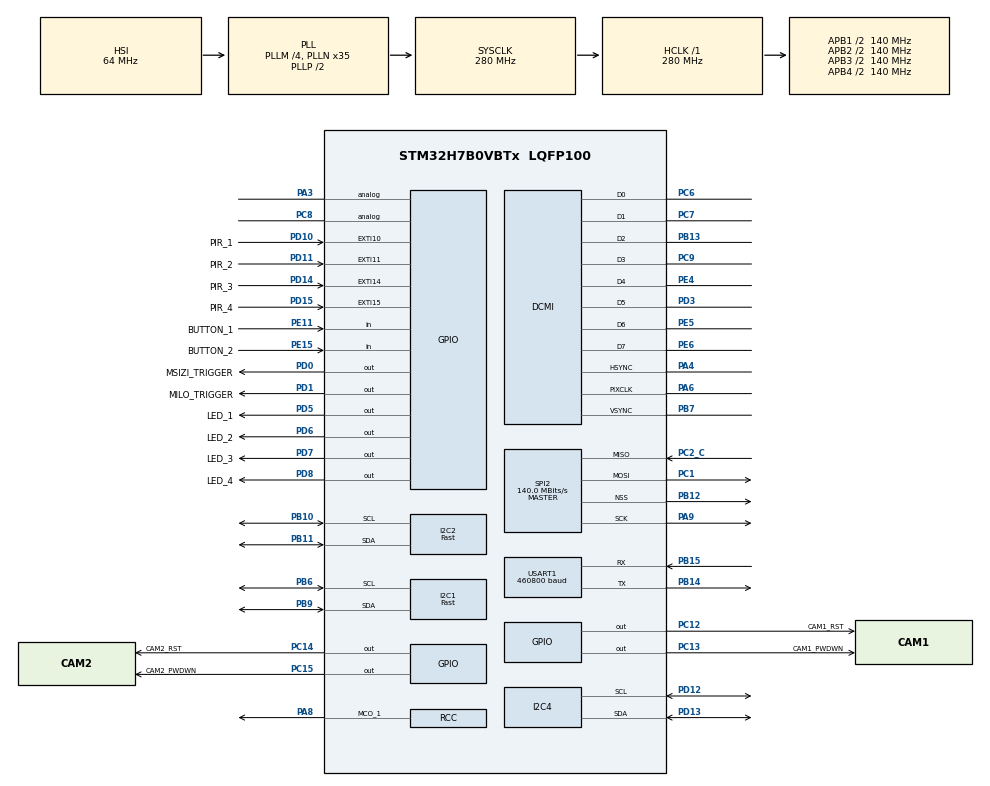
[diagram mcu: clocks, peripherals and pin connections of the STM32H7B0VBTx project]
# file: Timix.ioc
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CORTEX_M7.default_mode_Activation=1
DCMI.HSPolarity=DCMI_HSPOLARITY_LOW
DCMI.JPEGMode=DCMI_JPEG_DISABLE
DCMI.PCKPolarity=DCMI_PCKPOLARITY_RISING
DCMI.VSPolarity=DCMI_VSPOLARITY_HIGH
Dma.DCMI.0.Direction=DMA_PERIPH_TO_MEMORY
Dma.DCMI.0.EventEnable=DISABLE
Dma.DCMI.0.FIFOMode=DMA_FIFOMODE_DISABLE
Dma.DCMI.0.Instance=DMA1_Stream0
Dma.DCMI.0.MemDataAlignment=DMA_MDATAALIGN_WORD
Dma.DCMI.0.MemInc=DMA_MINC_ENABLE
Dma.DCMI.0.Mode=DMA_CIRCULAR
Dma.DCMI.0.PeriphDataAlignment=DMA_PDATAALIGN_WORD
Dma.DCMI.0.PeriphInc=DMA_PINC_DISABLE
Dma.DCMI.0.Polarity=HAL_DMAMUX_REQ_GEN_RISING
Dma.DCMI.0.Priority=DMA_PRIORITY_LOW
Dma.DCMI.0.RequestNumber=1
Dma.DCMI.0.SignalID=NONE
Dma.DCMI.0.SyncEnable=DISABLE
Dma.DCMI.0.SyncPolarity=HAL_DMAMUX_SYNC_NO_EVENT
Dma.DCMI.0.SyncRequestNumber=1
Dma.DCMI.0.SyncSignalID=NONE
Dma.Request0=DCMI
I2C1.I2C_Speed_Mode=I2C_Fast
I2C1.Timing=0x00D04BFF
I2C2.I2C_Speed_Mode=I2C_Fast
I2C2.Timing=0x00D04BFF
I2C4.Timing=0x20B0CCFF
Mcu.Family=STM32H7
Mcu.Name=STM32H7B0VBTx
Mcu.Package=LQFP100
NVIC.DCMI_PSSI_IRQn=true\:0\:0\:false\:false\:true\:true\:true\:true
NVIC.DMA1_Stream0_IRQn=true\:0\:0\:false\:false\:true\:false\:true\:true
NVIC.EXTI15_10_IRQn=true\:0\:0\:false\:false\:true\:true\:true\:true
NVIC.PriorityGroup=NVIC_PRIORITYGROUP_4
NVIC.USART1_IRQn=true\:0\:0\:false\:false\:true\:true\:true\:true
PA13.Mode=Serial_Wire
PA13.Signal=DEBUG_JTMS-SWDIO
PA14.Mode=Serial_Wire
PA14.Signal=DEBUG_JTCK-SWCLK
PA3.Signal=GPIO_Analog
PA4.GPIO_Speed=GPIO_SPEED_FREQ_VERY_HIGH
PA4.Mode=Slave_8_bits_External_Synchro
PA4.Signal=DCMI_HSYNC
PA6.GPIO_Speed=GPIO_SPEED_FREQ_VERY_HIGH
PA6.Mode=Slave_8_bits_External_Synchro
PA6.Signal=DCMI_PIXCLK
PA8.GPIO_Speed=GPIO_SPEED_FREQ_VERY_HIGH
PA8.Mode=Clock-out-1
PA8.Signal=RCC_MCO_1
PA9.Mode=Full_Duplex_Master
PA9.Signal=SPI2_SCK
PB10.Mode=I2C
PB10.Signal=I2C2_SCL
PB11.Mode=I2C
PB11.Signal=I2C2_SDA
PB12.Mode=NSS_Signal_Hard_Output
PB12.Signal=SPI2_NSS
PB13.GPIO_Speed=GPIO_SPEED_FREQ_VERY_HIGH
PB13.Mode=Slave_8_bits_External_Synchro
PB13.Signal=DCMI_D2
PB14.Mode=Asynchronous
PB14.Signal=USART1_TX
PB15.Mode=Asynchronous
PB15.Signal=USART1_RX
PB6.Mode=I2C
PB6.Signal=I2C1_SCL
PB7.GPIO_Speed=GPIO_SPEED_FREQ_VERY_HIGH
PB7.Mode=Slave_8_bits_External_Synchro
PB7.Signal=DCMI_VSYNC
PB9.Mode=I2C
PB9.Signal=I2C1_SDA
PC1.Mode=Full_Duplex_Master
PC1.Signal=SPI2_MOSI
PC12.GPIO_Label=CAM1_RST
PC12.Signal=GPIO_Output
PC13.GPIO_Label=CAM1_PWDWN
PC13.Signal=GPIO_Output
PC14-OSC32_IN.GPIO_Label=CAM2_RST
PC14-OSC32_IN.Signal=GPIO_Output
PC15-OSC32_OUT.GPIO_Label=CAM2_PWDWN
PC15-OSC32_OUT.Signal=GPIO_Output
PC2_C.Mode=Full_Duplex_Master
PC2_C.Signal=SPI2_MISO
PC6.GPIO_Speed=GPIO_SPEED_FREQ_VERY_HIGH
PC6.Mode=Slave_8_bits_External_Synchro
PC6.Signal=DCMI_D0
PC7.GPIO_Speed=GPIO_SPEED_FREQ_VERY_HIGH
PC7.Mode=Slave_8_bits_External_Synchro
PC7.Signal=DCMI_D1
PC8.Signal=GPIO_Analog
PC9.GPIO_Speed=GPIO_SPEED_FREQ_VERY_HIGH
PC9.Mode=Slave_8_bits_External_Synchro
PC9.Signal=DCMI_D3
PD0.GPIO_Label=MSIZI_TRIGGER
PD0.Signal=GPIO_Output
PD1.GPIO_Label=MILO_TRIGGER
PD1.Signal=GPIO_Output
PD10.GPIO_Label=PIR_1
PD10.Signal=GPXTI10
PD11.GPIO_Label=PIR_2
PD11.Signal=GPXTI11
PD12.Mode=I2C
PD12.Signal=I2C4_SCL
PD13.Mode=I2C
PD13.Signal=I2C4_SDA
PD14.GPIO_Label=PIR_3
PD14.Signal=GPXTI14
PD15.GPIO_Label=PIR_4
PD15.Signal=GPXTI15
PD3.GPIO_Speed=GPIO_SPEED_FREQ_VERY_HIGH
PD3.Mode=Slave_8_bits_External_Synchro
PD3.Signal=DCMI_D5
PD5.GPIO_Label=LED_1
PD5.Signal=GPIO_Output
PD6.GPIO_Label=LED_2
PD6.Signal=GPIO_Output
PD7.GPIO_Label=LED_3
PD7.Signal=GPIO_Output
PD8.GPIO_Label=LED_4
PD8.Signal=GPIO_Output
PE11.GPIO_Label=BUTTON_1
PE11.GPIO_PuPd=GPIO_PULLDOWN
PE11.Signal=GPIO_Input
PE15.GPIO_Label=BUTTON_2
PE15.GPIO_PuPd=GPIO_PULLDOWN
PE15.Signal=GPIO_Input
PE4.GPIO_Speed=GPIO_SPEED_FREQ_VERY_HIGH
PE4.Mode=Slave_8_bits_External_Synchro
PE4.Signal=DCMI_D4
PE5.GPIO_Speed=GPIO_SPEED_FREQ_VERY_HIGH
PE5.Mode=Slave_8_bits_External_Synchro
PE5.Signal=DCMI_D6
PE6.GPIO_Speed=GPIO_SPEED_FREQ_VERY_HIGH
PE6.Mode=Slave_8_bits_External_Synchro
PE6.Signal=DCMI_D7
PH0-OSC_IN.Mode=HSE-External-Oscillator
PH0-OSC_IN.Signal=RCC_OSC_IN
PH1-OSC_OUT.Mode=HSE-External-Oscillator
PH1-OSC_OUT.Signal=RCC_OSC_OUT
ProjectManager.HeapSize=0x200
ProjectManager.StackSize=0x400
ProjectManager.TargetToolchain=Makefile
RCC.ADCFreq_Value=129000000
RCC.APB1Freq_Value=140000000
RCC.APB2Freq_Value=140000000
RCC.APB3Freq_Value=140000000
RCC.APB4Freq_Value=140000000
RCC.CDPPRE=RCC_APB3_DIV2
RCC.CDPPRE1=RCC_APB1_DIV2
RCC.CDPPRE2=RCC_APB2_DIV2
RCC.CortexFreq_Value=280000000
RCC.DIVM1=4
RCC.DIVN1=35
RCC.DIVR1=4
RCC.HCLKFreq_Value=280000000
RCC.HSE_VALUE=8000000
RCC.PLL2FRACN=0
RCC.PLL3FRACN=0
RCC.PLL3_VCI_Range-AdvancedSettings=RCC_PLL3VCIRANGE_3
RCC.PLLFRACN=0
RCC.RCC_MCO1Source=RCC_MCO1SOURCE_HSI48
RCC.SRDPPRE=RCC_APB4_DIV2
RCC.SYSCLKFreq_VALUE=280000000
RCC.SYSCLKSource=RCC_SYSCLKSOURCE_PLLCLK
RCC.SupplySource=PWR_LDO_SUPPLY
RCC.USBFreq_Value=280000000
SPI2.CalculateBaudRate=140.0 MBits/s
SPI2.Direction=SPI_DIRECTION_2LINES
SPI2.Mode=SPI_MODE_MASTER
SPI2.VirtualNSS=VM_NSSHARD
SPI2.VirtualType=VM_MASTER
USART1.BaudRate=460800
USART1.VirtualMode-Asynchronous=VM_ASYNC
VP_MEMORYMAP_VS_MEMORYMAP.Mode=CurAppReg
board=custom

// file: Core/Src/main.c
/* USER CODE BEGIN Header */
/**
  ******************************************************************************
  * @file           : main.c
  * @brief          : Main program body
  ******************************************************************************
  * @attention
  *
  * Copyright (c) 2025 STMicroelectronics.
  * All rights reserved.
  *
  * This software is licensed under terms that can be found in the LICENSE file
  * in the root directory of this software component.
  * If no LICENSE file comes with this software, it is provided AS-IS.
  *
  ******************************************************************************
  */
/* USER CODE END Header */
#include "main.h"

/* USER CODE BEGIN Includes */
#include "ov7670.h"
#include "stdio.h"
#include <string.h>
#include <stdlib.h>
/* USER CODE END Includes */

/* USER CODE BEGIN PD */
#define CAM1_I2C hi2c1
#define CAM2_I2C hi2c2
/* USER CODE END PD */

DCMI_HandleTypeDef hdcmi;
DMA_HandleTypeDef hdma_dcmi;

I2C_HandleTypeDef hi2c1;
I2C_HandleTypeDef hi2c2;
I2C_HandleTypeDef hi2c4;

SPI_HandleTypeDef hspi2;

UART_HandleTypeDef huart1;

/* USER CODE BEGIN PV */
uint8_t CAM1_Image[OV7670_QVGA_WIDTH * OV7670_QVGA_HEIGHT * 2];
uint8_t CAM1_Permanent_Image[OV7670_QVGA_WIDTH * OV7670_QVGA_HEIGHT * 2];
uint8_t CAM2_Image[OV7670_QVGA_WIDTH * OV7670_QVGA_HEIGHT * 2];
uint8_t CAM2_Permanent_Image[OV7670_QVGA_WIDTH * OV7670_QVGA_HEIGHT * 2];

volatile uint32_t CAM1_Permanent_Image_Address = (uint32_t) CAM1_Permanent_Image;
volatile uint32_t CAM2_Permanent_Image_Address = (uint32_t) CAM2_Permanent_Image;
volatile uint32_t CAM1_Image_Address           = (uint32_t) CAM1_Image;
volatile uint32_t CAM2_Image_Address           = (uint32_t) CAM2_Image;

uint8_t pictureTaken = 0;

/* USER CODE END PV */

void SystemClock_Config(void);
static void MPU_Config(void);
static void MX_GPIO_Init(void);
static void MX_DMA_Init(void);
static void MX_DCMI_Init(void);
static void MX_I2C1_Init(void);
static void MX_I2C2_Init(void);
static void MX_I2C4_Init(void);
static void MX_SPI2_Init(void);
static void MX_USART1_UART_Init(void);

/* USER CODE BEGIN 0 */
int _write(int file, char *ptr, int len)
{
    HAL_UART_Transmit(&huart1, (uint8_t *)ptr, len, HAL_MAX_DELAY);
    return len;
}

int fputc(int ch, FILE *f)
{
    HAL_UART_Transmit(&huart1, (uint8_t *)&ch, 1, HAL_MAX_DELAY);
    return ch;
}

HAL_StatusTypeDef status;

uint8_t received_data[5];
uint16_t num_elements = (OV7670_QVGA_WIDTH * OV7670_QVGA_HEIGHT) * 32/8;

void takeCamera1Picture(){
  printf("Taking picture on Camera 1 now\n");
  HAL_GPIO_WritePin(CAM2_PWDWN_GPIO_Port , CAM2_PWDWN_Pin , GPIO_PIN_SET);
  HAL_GPIO_WritePin(CAM1_PWDWN_GPIO_Port , CAM1_PWDWN_Pin , GPIO_PIN_RESET);
  ov7670_init(&hdcmi , &hdma_dcmi , &(CAM1_I2C)  , 1);
  ov7670_config(OV7670_MODE_QVGA_RGB565);
  ov7670_startCap(OV7670_CAP_SINGLE_FRAME , CAM1_Image_Address);
}

void takeCamera2Picture(){
  printf("Taking picture on Camera 2 now\n");
  HAL_GPIO_WritePin(CAM2_PWDWN_GPIO_Port , CAM2_PWDWN_Pin , GPIO_PIN_RESET);
  HAL_GPIO_WritePin(CAM1_PWDWN_GPIO_Port , CAM1_PWDWN_Pin , GPIO_PIN_SET);
  ov7670_init(&hdcmi , &hdma_dcmi , &(CAM2_I2C)  , 2);
  ov7670_config(OV7670_MODE_QVGA_RGB565);
  ov7670_startCap(OV7670_CAP_SINGLE_FRAME , CAM2_Image_Address);
}

void PIR1_Triggered(){
  printf("Motion detected - Sensor 1\n");
}

void PIR2_Triggered(){
  printf("Motion detected - Sensor 2\n");
}

void PIR3_Triggered(){
  printf("Motion detected - Sensor 3\n");
  takeCamera1Picture();
}

void PIR4_Triggered(){
  printf("Motion detected - Sensor 4\n");
  takeCamera2Picture();
}

void Button1_Pressed(){

}

void Button2_Pressed(){

}

void HAL_GPIO_EXTI_Callback(uint16_t GPIO_Pin){
  if (GPIO_Pin == PIR_1_Pin) {PIR1_Triggered();}
  if (GPIO_Pin == PIR_2_Pin) {PIR2_Triggered();}
  if (GPIO_Pin == PIR_3_Pin) {PIR3_Triggered();}
  if (GPIO_Pin == PIR_4_Pin) {PIR4_Triggered();}
}

// Extract RGB components from 2-byte RGB565 pixel (little-endian)
void ExtractRGB565(uint8_t low, uint8_t high, uint8_t* r, uint8_t* g, uint8_t* b) {
    uint16_t pixel = (high << 8) | low;

    *r = (pixel >> 11) & 0x1F;  // 5-bit Red
    *g = (pixel >> 5)  & 0x3F;  // 6-bit Green
    *b = pixel & 0x1F;          // 5-bit Blue
}

// Compare two RGB565 images stored in uint8_t arrays with a per-channel tolerance
float CompareRGB565Similarity_uint8(uint8_t* img1, uint8_t* img2, size_t pixelCount, uint8_t tolerance) {
    if (pixelCount == 0) return 0.0f;

    size_t matchCount = 0;

    for (size_t i = 0; i < pixelCount; i++) {
        uint8_t r1, g1, b1;
        uint8_t r2, g2, b2;

        ExtractRGB565(img1[2 * i], img1[2 * i + 1], &r1, &g1, &b1);
        ExtractRGB565(img2[2 * i], img2[2 * i + 1], &r2, &g2, &b2);

        if (abs(r1 - r2) <= tolerance &&
            abs(g1 - g2) <= tolerance &&
            abs(b1 - b2) <= tolerance) {
            matchCount++;
        }
    }

    return (100.0f * matchCount) / pixelCount;
}

void sendPicture(){
      //   // Wait until "START" is received
      // HAL_UART_Receive(&huart1, received_data, 5, 100);

      // if (strncmp((char *)received_data, "START", 5) == 0)
      // {

      //     // Transmit image data
      //     HAL_UART_Transmit(&huart1, (uint8_t *)(CAM_Image + (UINT16_MAX * 0)), UINT16_MAX, HAL_MAX_DELAY);
      //     HAL_UART_Transmit(&huart1, (uint8_t *)(CAM_Image + (UINT16_MAX * 1)), UINT16_MAX, HAL_MAX_DELAY);
      //     HAL_UART_Transmit(&huart1, (uint8_t *)(CAM_Image + (UINT16_MAX * 2)), 22530, HAL_MAX_DELAY);

      //     // Transmit end marker
      //     HAL_UART_Transmit(&huart1, (uint8_t *) "END", 3, HAL_MAX_DELAY);
      //     received_data[0] = 0;
      //     received_data[1] = 0;
      //     received_data[2] = 0;
      //     received_data[3] = 0;
      //     received_data[4] = 0;
      //     // ov7670_startCap(OV7670_CAP_SINGLE_FRAME , CAM1_Image_Address);
      //   }
}

float similarity1 = 100;
float similarity2 = 100;

/* USER CODE END 0 */

int main(void)
{

  /* MPU Configuration--------------------------------------------------------*/
  MPU_Config();

  /* MCU Configuration--------------------------------------------------------*/

  /* Reset of all peripherals, Initializes the Flash interface and the Systick. */
  HAL_Init();

  /* Configure the system clock */
  SystemClock_Config();

  /* Initialize all configured peripherals */
  MX_GPIO_Init();
  MX_DMA_Init();
  MX_DCMI_Init();
  MX_I2C1_Init();
  MX_I2C2_Init();
  MX_I2C4_Init();
  MX_SPI2_Init();
  MX_USART1_UART_Init();
  /* USER CODE BEGIN 2 */

  takeCamera1Picture();
  while (pictureTaken == 0){}
  memcpy(CAM1_Permanent_Image, CAM1_Image, sizeof(CAM1_Image));
  if (CAM1_Permanent_Image_Address != 0){
      printf("Permanent image captured for Camera 1!\n");
  }
  pictureTaken = 0;
  HAL_Delay(500);

  // takeCamera2Picture();
  // while (pictureTaken == 0){}
  // memcpy(CAM2_Permanent_Image, CAM2_Image, sizeof(CAM2_Image));
  // printf("Permanent image captured for Camera 2!\n");
  // printf(CAM2_Permanent_Image_Address);
  // pictureTaken = 0;

  /* USER CODE END 2 */

  /* Infinite loop */
  /* USER CODE BEGIN WHILE */

  while (1)
  {

    HAL_GPIO_WritePin(CAM1_RST_GPIO_Port , CAM1_RST_Pin , 1);
    HAL_GPIO_WritePin(CAM1_PWDWN_GPIO_Port , CAM1_PWDWN_Pin , 1);
    HAL_PWR_EnterSLEEPMode(PWR_LOWPOWERREGULATOR_ON , PWR_STOPENTRY_WFI);
    if (HAL_GPIO_ReadPin(PIR_3_GPIO_Port , PIR_3_Pin)){
      takeCamera1Picture();
      while (pictureTaken == 0)
      {
        /* code */
      }

    HAL_GPIO_WritePin(LED_1_GPIO_Port , LED_1_Pin , 1);
    HAL_GPIO_WritePin(LED_2_GPIO_Port , LED_2_Pin , 1);

      if(pictureTaken == 1){
        similarity1 = CompareRGB565Similarity_uint8(CAM1_Permanent_Image , CAM1_Image , sizeof(CAM1_Image)/2 , 7 );
        // similarity2 = CompareRGB565Similarity_uint8(&CAM2_Permanent_Image , &CAM2_Image , sizeof(CAM2_Image)/2 , 50);
        pictureTaken = 0;
        int similarity_int = (int)(similarity1 * 10000);
        printf("Picture captured, similarity = %d.%04d%%\n", similarity_int / 10000, similarity_int % 10000);
        if (similarity1 <= 75.0f){
          HAL_GPIO_WritePin(MILO_TRIGGER_GPIO_Port , MILO_TRIGGER_Pin , 0);
          HAL_GPIO_WritePin(MSIZI_TRIGGER_GPIO_Port , MSIZI_TRIGGER_Pin , 1);
        }else{
          HAL_GPIO_WritePin(MILO_TRIGGER_GPIO_Port , MILO_TRIGGER_Pin , 1);
          HAL_GPIO_WritePin(MSIZI_TRIGGER_GPIO_Port , MSIZI_TRIGGER_Pin , 0);
        }
      }
    }
  }

    /* USER CODE END WHILE */

}

void SystemClock_Config(void)
{
  RCC_OscInitTypeDef RCC_OscInitStruct = {0};
  RCC_ClkInitTypeDef RCC_ClkInitStruct = {0};

  /*AXI clock gating */
  RCC->CKGAENR = 0xFFFFFFFF;

  /** Supply configuration update enable
  */
  HAL_PWREx_ConfigSupply(PWR_LDO_SUPPLY);

  /** Configure the main internal regulator output voltage
  */
  __HAL_PWR_VOLTAGESCALING_CONFIG(PWR_REGULATOR_VOLTAGE_SCALE0);

  while(!__HAL_PWR_GET_FLAG(PWR_FLAG_VOSRDY)) {}

  /** Initializes the RCC Oscillators according to the specified parameters
  * in the RCC_OscInitTypeDef structure.
  */
  RCC_OscInitStruct.OscillatorType = RCC_OSCILLATORTYPE_HSI48|RCC_OSCILLATORTYPE_HSI;
  RCC_OscInitStruct.HSIState = RCC_HSI_DIV1;
  RCC_OscInitStruct.HSICalibrationValue = 64;
  RCC_OscInitStruct.HSI48State = RCC_HSI48_ON;
  RCC_OscInitStruct.PLL.PLLState = RCC_PLL_ON;
  RCC_OscInitStruct.PLL.PLLSource = RCC_PLLSOURCE_HSI;
  RCC_OscInitStruct.PLL.PLLM = 4;
  RCC_OscInitStruct.PLL.PLLN = 35;
  RCC_OscInitStruct.PLL.PLLP = 2;
  RCC_OscInitStruct.PLL.PLLQ = 2;
  RCC_OscInitStruct.PLL.PLLR = 4;
  RCC_OscInitStruct.PLL.PLLRGE = RCC_PLL1VCIRANGE_3;
  RCC_OscInitStruct.PLL.PLLVCOSEL = RCC_PLL1VCOWIDE;
  RCC_OscInitStruct.PLL.PLLFRACN = 0;
  if (HAL_RCC_OscConfig(&RCC_OscInitStruct) != HAL_OK)
  {
    Error_Handler();
  }

  /** Initializes the CPU, AHB and APB buses clocks
  */
  RCC_ClkInitStruct.ClockType = RCC_CLOCKTYPE_HCLK|RCC_CLOCKTYPE_SYSCLK
                              |RCC_CLOCKTYPE_PCLK1|RCC_CLOCKTYPE_PCLK2
                              |RCC_CLOCKTYPE_D3PCLK1|RCC_CLOCKTYPE_D1PCLK1;
  RCC_ClkInitStruct.SYSCLKSource = RCC_SYSCLKSOURCE_PLLCLK;
  RCC_ClkInitStruct.SYSCLKDivider = RCC_SYSCLK_DIV1;
  RCC_ClkInitStruct.AHBCLKDivider = RCC_HCLK_DIV1;
  RCC_ClkInitStruct.APB3CLKDivider = RCC_APB3_DIV2;
  RCC_ClkInitStruct.APB1CLKDivider = RCC_APB1_DIV2;
  RCC_ClkInitStruct.APB2CLKDivider = RCC_APB2_DIV2;
  RCC_ClkInitStruct.APB4CLKDivider = RCC_APB4_DIV2;

  if (HAL_RCC_ClockConfig(&RCC_ClkInitStruct, FLASH_LATENCY_6) != HAL_OK)
  {
    Error_Handler();
  }
  HAL_RCC_MCOConfig(RCC_MCO1, RCC_MCO1SOURCE_HSI48, RCC_MCODIV_1);
}

static void MX_DCMI_Init(void)
{

  hdcmi.Instance = DCMI;
  hdcmi.Init.SynchroMode = DCMI_SYNCHRO_HARDWARE;
  hdcmi.Init.PCKPolarity = DCMI_PCKPOLARITY_RISING;
  hdcmi.Init.VSPolarity = DCMI_VSPOLARITY_HIGH;
  hdcmi.Init.HSPolarity = DCMI_HSPOLARITY_LOW;
  hdcmi.Init.CaptureRate = DCMI_CR_ALL_FRAME;
  hdcmi.Init.ExtendedDataMode = DCMI_EXTEND_DATA_8B;
  hdcmi.Init.JPEGMode = DCMI_JPEG_DISABLE;
  hdcmi.Init.ByteSelectMode = DCMI_BSM_ALL;
  hdcmi.Init.ByteSelectStart = DCMI_OEBS_ODD;
  hdcmi.Init.LineSelectMode = DCMI_LSM_ALL;
  hdcmi.Init.LineSelectStart = DCMI_OELS_ODD;
  if (HAL_DCMI_Init(&hdcmi) != HAL_OK)
  {
    Error_Handler();
  }

}

static void MX_I2C1_Init(void)
{

  hi2c1.Instance = I2C1;
  hi2c1.Init.Timing = 0x00D04BFF;
  hi2c1.Init.OwnAddress1 = 0;
  hi2c1.Init.AddressingMode = I2C_ADDRESSINGMODE_7BIT;
  hi2c1.Init.DualAddressMode = I2C_DUALADDRESS_DISABLE;
  hi2c1.Init.OwnAddress2 = 0;
  hi2c1.Init.OwnAddress2Masks = I2C_OA2_NOMASK;
  hi2c1.Init.GeneralCallMode = I2C_GENERALCALL_DISABLE;
  hi2c1.Init.NoStretchMode = I2C_NOSTRETCH_DISABLE;
  if (HAL_I2C_Init(&hi2c1) != HAL_OK)
  {
    Error_Handler();
  }

  /** Configure Analogue filter
  */
  if (HAL_I2CEx_ConfigAnalogFilter(&hi2c1, I2C_ANALOGFILTER_ENABLE) != HAL_OK)
  {
    Error_Handler();
  }

  /** Configure Digital filter
  */
  if (HAL_I2CEx_ConfigDigitalFilter(&hi2c1, 0) != HAL_OK)
  {
    Error_Handler();
  }

}

static void MX_I2C2_Init(void)
{

  hi2c2.Instance = I2C2;
  hi2c2.Init.Timing = 0x00D04BFF;
  hi2c2.Init.OwnAddress1 = 0;
  hi2c2.Init.AddressingMode = I2C_ADDRESSINGMODE_7BIT;
  hi2c2.Init.DualAddressMode = I2C_DUALADDRESS_DISABLE;
  hi2c2.Init.OwnAddress2 = 0;
  hi2c2.Init.OwnAddress2Masks = I2C_OA2_NOMASK;
  hi2c2.Init.GeneralCallMode = I2C_GENERALCALL_DISABLE;
  hi2c2.Init.NoStretchMode = I2C_NOSTRETCH_DISABLE;
  if (HAL_I2C_Init(&hi2c2) != HAL_OK)
  {
    Error_Handler();
  }

  /** Configure Analogue filter
  */
  if (HAL_I2CEx_ConfigAnalogFilter(&hi2c2, I2C_ANALOGFILTER_ENABLE) != HAL_OK)
  {
    Error_Handler();
  }

  /** Configure Digital filter
  */
  if (HAL_I2CEx_ConfigDigitalFilter(&hi2c2, 0) != HAL_OK)
  {
    Error_Handler();
  }

}

static void MX_I2C4_Init(void)
{

  hi2c4.Instance = I2C4;
  hi2c4.Init.Timing = 0x20B0CCFF;
  hi2c4.Init.OwnAddress1 = 0;
  hi2c4.Init.AddressingMode = I2C_ADDRESSINGMODE_7BIT;
  hi2c4.Init.DualAddressMode = I2C_DUALADDRESS_DISABLE;
  hi2c4.Init.OwnAddress2 = 0;
  hi2c4.Init.OwnAddress2Masks = I2C_OA2_NOMASK;
  hi2c4.Init.GeneralCallMode = I2C_GENERALCALL_DISABLE;
  hi2c4.Init.NoStretchMode = I2C_NOSTRETCH_DISABLE;
  if (HAL_I2C_Init(&hi2c4) != HAL_OK)
  {
    Error_Handler();
  }

  /** Configure Analogue filter
  */
  if (HAL_I2CEx_ConfigAnalogFilter(&hi2c4, I2C_ANALOGFILTER_ENABLE) != HAL_OK)
  {
    Error_Handler();
  }

  /** Configure Digital filter
  */
  if (HAL_I2CEx_ConfigDigitalFilter(&hi2c4, 0) != HAL_OK)
  {
    Error_Handler();
  }

}

static void MX_SPI2_Init(void)
{

  /* SPI2 parameter configuration*/
  hspi2.Instance = SPI2;
  hspi2.Init.Mode = SPI_MODE_MASTER;
  hspi2.Init.Direction = SPI_DIRECTION_2LINES;
  hspi2.Init.DataSize = SPI_DATASIZE_4BIT;
  hspi2.Init.CLKPolarity = SPI_POLARITY_LOW;
  hspi2.Init.CLKPhase = SPI_PHASE_1EDGE;
  hspi2.Init.NSS = SPI_NSS_HARD_OUTPUT;
  hspi2.Init.BaudRatePrescaler = SPI_BAUDRATEPRESCALER_2;
  hspi2.Init.FirstBit = SPI_FIRSTBIT_MSB;
  hspi2.Init.TIMode = SPI_TIMODE_DISABLE;
  hspi2.Init.CRCCalculation = SPI_CRCCALCULATION_DISABLE;
  hspi2.Init.CRCPolynomial = 0x0;
  hspi2.Init.NSSPMode = SPI_NSS_PULSE_ENABLE;
  hspi2.Init.NSSPolarity = SPI_NSS_POLARITY_LOW;
  hspi2.Init.FifoThreshold = SPI_FIFO_THRESHOLD_01DATA;
  hspi2.Init.TxCRCInitializationPattern = SPI_CRC_INITIALIZATION_ALL_ZERO_PATTERN;
  hspi2.Init.RxCRCInitializationPattern = SPI_CRC_INITIALIZATION_ALL_ZERO_PATTERN;
  hspi2.Init.MasterSSIdleness = SPI_MASTER_SS_IDLENESS_00CYCLE;
  hspi2.Init.MasterInterDataIdleness = SPI_MASTER_INTERDATA_IDLENESS_00CYCLE;
  hspi2.Init.MasterReceiverAutoSusp = SPI_MASTER_RX_AUTOSUSP_DISABLE;
  hspi2.Init.MasterKeepIOState = SPI_MASTER_KEEP_IO_STATE_DISABLE;
  hspi2.Init.IOSwap = SPI_IO_SWAP_DISABLE;
  if (HAL_SPI_Init(&hspi2) != HAL_OK)
  {
    Error_Handler();
  }

}

static void MX_USART1_UART_Init(void)
{

  huart1.Instance = USART1;
  huart1.Init.BaudRate = 460800;
  huart1.Init.WordLength = UART_WORDLENGTH_8B;
  huart1.Init.StopBits = UART_STOPBITS_1;
  huart1.Init.Parity = UART_PARITY_NONE;
  huart1.Init.Mode = UART_MODE_TX_RX;
  huart1.Init.HwFlowCtl = UART_HWCONTROL_NONE;
  huart1.Init.OverSampling = UART_OVERSAMPLING_16;
  huart1.Init.OneBitSampling = UART_ONE_BIT_SAMPLE_DISABLE;
  huart1.Init.ClockPrescaler = UART_PRESCALER_DIV1;
  huart1.AdvancedInit.AdvFeatureInit = UART_ADVFEATURE_NO_INIT;
  if (HAL_UART_Init(&huart1) != HAL_OK)
  {
    Error_Handler();
  }
  if (HAL_UARTEx_SetTxFifoThreshold(&huart1, UART_TXFIFO_THRESHOLD_1_8) != HAL_OK)
  {
    Error_Handler();
  }
  if (HAL_UARTEx_SetRxFifoThreshold(&huart1, UART_RXFIFO_THRESHOLD_1_8) != HAL_OK)
  {
    Error_Handler();
  }
  if (HAL_UARTEx_DisableFifoMode(&huart1) != HAL_OK)
  {
    Error_Handler();
  }

}

static void MX_DMA_Init(void)
{

  /* DMA controller clock enable */
  __HAL_RCC_DMA1_CLK_ENABLE();

  /* DMA interrupt init */
  /* DMA1_Stream0_IRQn interrupt configuration */
  HAL_NVIC_SetPriority(DMA1_Stream0_IRQn, 0, 0);
  HAL_NVIC_EnableIRQ(DMA1_Stream0_IRQn);

}

static void MX_GPIO_Init(void)
{
  GPIO_InitTypeDef GPIO_InitStruct = {0};

  /* GPIO Ports Clock Enable */
  __HAL_RCC_GPIOE_CLK_ENABLE();
  __HAL_RCC_GPIOC_CLK_ENABLE();
  __HAL_RCC_GPIOH_CLK_ENABLE();
  __HAL_RCC_GPIOA_CLK_ENABLE();
  __HAL_RCC_GPIOB_CLK_ENABLE();
  __HAL_RCC_GPIOD_CLK_ENABLE();

  /*Configure GPIO pin Output Level */
  HAL_GPIO_WritePin(GPIOC, CAM1_PWDWN_Pin|CAM2_RST_Pin|CAM2_PWDWN_Pin|CAM1_RST_Pin, GPIO_PIN_RESET);

  /*Configure GPIO pin Output Level */
  HAL_GPIO_WritePin(GPIOD, LED_4_Pin|MSIZI_TRIGGER_Pin|MILO_TRIGGER_Pin|LED_1_Pin
                          |LED_2_Pin|LED_3_Pin, GPIO_PIN_RESET);

  /*Configure GPIO pins : PE2 PE3 PE7 PE8
                           PE9 PE10 PE12 PE13
                           PE14 PE0 PE1 */
  GPIO_InitStruct.Pin = GPIO_PIN_2|GPIO_PIN_3|GPIO_PIN_7|GPIO_PIN_8
                          |GPIO_PIN_9|GPIO_PIN_10|GPIO_PIN_12|GPIO_PIN_13
                          |GPIO_PIN_14|GPIO_PIN_0|GPIO_PIN_1;
  GPIO_InitStruct.Mode = GPIO_MODE_ANALOG;
  GPIO_InitStruct.Pull = GPIO_NOPULL;
  HAL_GPIO_Init(GPIOE, &GPIO_InitStruct);

  /*Configure GPIO pins : CAM1_PWDWN_Pin CAM2_RST_Pin CAM2_PWDWN_Pin CAM1_RST_Pin */
  GPIO_InitStruct.Pin = CAM1_PWDWN_Pin|CAM2_RST_Pin|CAM2_PWDWN_Pin|CAM1_RST_Pin;
  GPIO_InitStruct.Mode = GPIO_MODE_OUTPUT_PP;
  GPIO_InitStruct.Pull = GPIO_NOPULL;
  GPIO_InitStruct.Speed = GPIO_SPEED_FREQ_LOW;
  HAL_GPIO_Init(GPIOC, &GPIO_InitStruct);

  /*Configure GPIO pins : PC0 PC3 PC4 PC5
                           PC8 PC10 PC11 */
  GPIO_InitStruct.Pin = GPIO_PIN_0|GPIO_PIN_3|GPIO_PIN_4|GPIO_PIN_5
                          |GPIO_PIN_8|GPIO_PIN_10|GPIO_PIN_11;
  GPIO_InitStruct.Mode = GPIO_MODE_ANALOG;
  GPIO_InitStruct.Pull = GPIO_NOPULL;
  HAL_GPIO_Init(GPIOC, &GPIO_InitStruct);

  /*Configure GPIO pins : PA0 PA1 PA2 PA3
                           PA5 PA7 PA10 PA11
                           PA12 PA15 */
  GPIO_InitStruct.Pin = GPIO_PIN_0|GPIO_PIN_1|GPIO_PIN_2|GPIO_PIN_3
                          |GPIO_PIN_5|GPIO_PIN_7|GPIO_PIN_10|GPIO_PIN_11
                          |GPIO_PIN_12|GPIO_PIN_15;
  GPIO_InitStruct.Mode = GPIO_MODE_ANALOG;
  GPIO_InitStruct.Pull = GPIO_NOPULL;
  HAL_GPIO_Init(GPIOA, &GPIO_InitStruct);

  /*Configure GPIO pins : PB0 PB1 PB2 PB3
                           PB4 PB5 PB8 */
  GPIO_InitStruct.Pin = GPIO_PIN_0|GPIO_PIN_1|GPIO_PIN_2|GPIO_PIN_3
                          |GPIO_PIN_4|GPIO_PIN_5|GPIO_PIN_8;
  GPIO_InitStruct.Mode = GPIO_MODE_ANALOG;
  GPIO_InitStruct.Pull = GPIO_NOPULL;
  HAL_GPIO_Init(GPIOB, &GPIO_InitStruct);

  /*Configure GPIO pins : BUTTON_1_Pin BUTTON_2_Pin */
  GPIO_InitStruct.Pin = BUTTON_1_Pin|BUTTON_2_Pin;
  GPIO_InitStruct.Mode = GPIO_MODE_INPUT;
  GPIO_InitStruct.Pull = GPIO_PULLDOWN;
  HAL_GPIO_Init(GPIOE, &GPIO_InitStruct);

  /*Configure GPIO pins : LED_4_Pin MSIZI_TRIGGER_Pin MILO_TRIGGER_Pin LED_1_Pin
                           LED_2_Pin LED_3_Pin */
  GPIO_InitStruct.Pin = LED_4_Pin|MSIZI_TRIGGER_Pin|MILO_TRIGGER_Pin|LED_1_Pin
                          |LED_2_Pin|LED_3_Pin;
  GPIO_InitStruct.Mode = GPIO_MODE_OUTPUT_PP;
  GPIO_InitStruct.Pull = GPIO_NOPULL;
  GPIO_InitStruct.Speed = GPIO_SPEED_FREQ_LOW;
  HAL_GPIO_Init(GPIOD, &GPIO_InitStruct);

  /*Configure GPIO pins : PD9 PD2 PD4 */
  GPIO_InitStruct.Pin = GPIO_PIN_9|GPIO_PIN_2|GPIO_PIN_4;
  GPIO_InitStruct.Mode = GPIO_MODE_ANALOG;
  GPIO_InitStruct.Pull = GPIO_NOPULL;
  HAL_GPIO_Init(GPIOD, &GPIO_InitStruct);

  /*Configure GPIO pins : PIR_1_Pin PIR_2_Pin PIR_3_Pin PIR_4_Pin */
  GPIO_InitStruct.Pin = PIR_1_Pin|PIR_2_Pin|PIR_3_Pin|PIR_4_Pin;
  GPIO_InitStruct.Mode = GPIO_MODE_IT_RISING;
  GPIO_InitStruct.Pull = GPIO_NOPULL;
  HAL_GPIO_Init(GPIOD, &GPIO_InitStruct);

  /*Configure GPIO pin : PA8 */
  GPIO_InitStruct.Pin = GPIO_PIN_8;
  GPIO_InitStruct.Mode = GPIO_MODE_AF_PP;
  GPIO_InitStruct.Pull = GPIO_NOPULL;
  GPIO_InitStruct.Speed = GPIO_SPEED_FREQ_VERY_HIGH;
  GPIO_InitStruct.Alternate = GPIO_AF0_MCO;
  HAL_GPIO_Init(GPIOA, &GPIO_InitStruct);

  /* EXTI interrupt init*/
  HAL_NVIC_SetPriority(PIR_1_EXTI_IRQn, 0, 0);
  HAL_NVIC_EnableIRQ(PIR_1_EXTI_IRQn);

}

 /* MPU Configuration */

void MPU_Config(void)
{
  MPU_Region_InitTypeDef MPU_InitStruct = {0};

  /* Disables the MPU */
  HAL_MPU_Disable();

  /** Initializes and configures the Region and the memory to be protected
  */
  MPU_InitStruct.Enable = MPU_REGION_ENABLE;
  MPU_InitStruct.Number = MPU_REGION_NUMBER0;
  MPU_InitStruct.BaseAddress = 0x0;
  MPU_InitStruct.Size = MPU_REGION_SIZE_4GB;
  MPU_InitStruct.SubRegionDisable = 0x87;
  MPU_InitStruct.TypeExtField = MPU_TEX_LEVEL0;
  MPU_InitStruct.AccessPermission = MPU_REGION_NO_ACCESS;
  MPU_InitStruct.DisableExec = MPU_INSTRUCTION_ACCESS_DISABLE;
  MPU_InitStruct.IsShareable = MPU_ACCESS_SHAREABLE;
  MPU_InitStruct.IsCacheable = MPU_ACCESS_NOT_CACHEABLE;
  MPU_InitStruct.IsBufferable = MPU_ACCESS_NOT_BUFFERABLE;

  HAL_MPU_ConfigRegion(&MPU_InitStruct);
  /* Enables the MPU */
  HAL_MPU_Enable(MPU_PRIVILEGED_DEFAULT);

}

void Error_Handler(void)
{
  __disable_irq();
  while (1)
  {
  }
}
